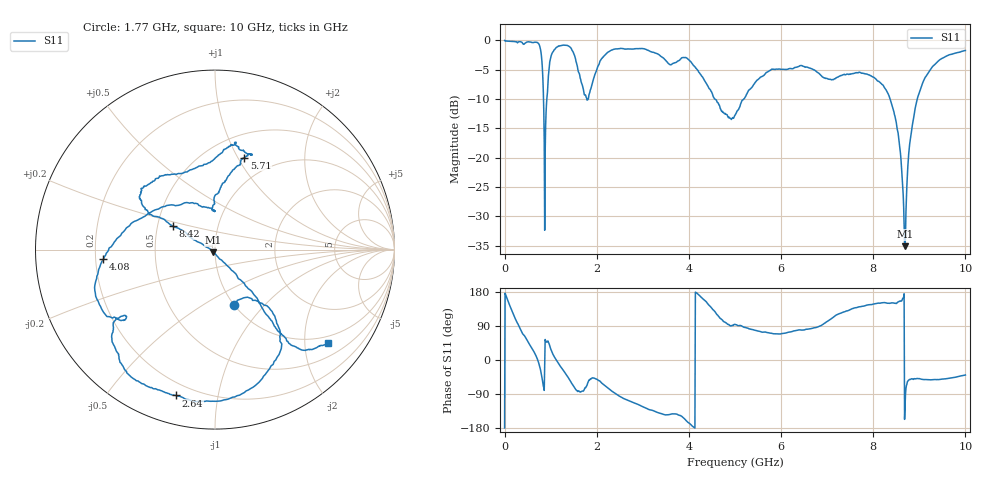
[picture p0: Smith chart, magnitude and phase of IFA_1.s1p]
!Keysight Technologies,P9374A,MY57213671,A.19.10.09
!Date: Friday, August 01, 2025 14:39:23
!Correction: S11(C  2-Port  )
!S1P File: Measurement: S11:
# Hz S  dB  R 50
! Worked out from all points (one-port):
!   1001 points, 300 kHz to 10 GHz, reference 50 ohm
!   lowest |S11| = -35.1 dB at 8.69 GHz (marker M1), VSWR 1.04, Z = 49 - j1.4 ohm
!   |S11| at or under -10 dB: 844.2 MHz to 917.1 MHz (72.87 MHz wide, 8.27 % of centre); 4.56 GHz to 5.19 GHz (630.1 MHz wide, 12.9 % of centre); 8.365 GHz to 8.956 GHz (590.6 MHz wide, 6.82 % of centre)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
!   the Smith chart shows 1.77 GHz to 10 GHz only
!   S11 on the Smith chart (normalised r, x): 1.77 GHz: 1.00, -0.69; 2.64 GHz: 0.14, -0.76; 4.08 GHz: 0.23, -0.04; 5.71 GHz: 0.74, +1.07; 8.42 GHz: 0.60, +0.17; 10 GHz: 0.81, -2.56
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300000  -0.03 -179.4
1.702949e8  -0.18 126.4
3.202904e8  -0.24 87.1
5.102847e8  -0.26 47.5
6.902793e8  -0.33 8.7
8.00276e8  -2.73 -38.9
8.902733e8  -14.64 49.6
1.00027e9  -3.00 29.4
1.250262e9  -0.86 -23.3
1.470256e9  -1.77 -63.9
1.600252e9  -5.35 -81.4
1.770247e9  -9.72 -70.8
2.060238e9  -3.83 -54.7
2.500225e9  -1.43 -96.0
2.640221e9  -1.51 -104.9
3.750188e9  -3.58 -143.7
4.080178e9  -4.09 -175.1
4.460166e9  -8.39 141.7
5.00015e9  -12.78 94.2
5.710129e9  -5.38 72.3
6.250112e9  -4.85 75.8
7.500075e9  -5.80 133.0
8.420047e9  -11.45 151.1
8.690039e9  -35.09 -125.8
8.750038e9  -21.62 -56.2
8.880034e9  -13.19 -49.9
9.100027e9  -6.77 -51.7
1e10  -1.74 -39.6
